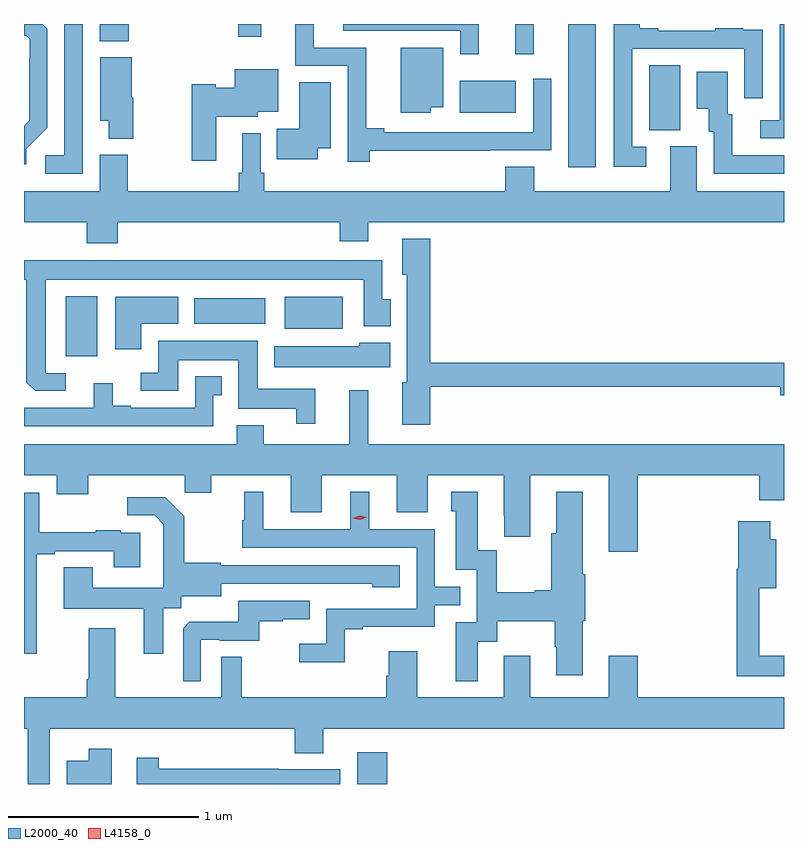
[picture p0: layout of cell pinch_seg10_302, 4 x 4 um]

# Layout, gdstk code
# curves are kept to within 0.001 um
import gdstk
lib = gdstk.Library(unit=1e-6, precision=1e-09)
def R(c, l, rs):  # rectangles x0, y0, x1, y1
    for r in rs: c.add(gdstk.rectangle(r[:2], r[2:], *l))
def P(c, l, *ps):  # polygons
    for p in ps: c.add(gdstk.Polygon(p, *l))
L2000_40 = (2000, 40)
L4158_0 = (4158, 0)

pinch_seg10_302 = lib.new_cell('pinch_seg10_302')
R(pinch_seg10_302, L2000_40, [(397.106,1293.364,397.265,1293.532), (395.573,1295.616,395.737,1295.932), (396.725,1295.759,397.03,1295.929), (396.248,1295.786,396.622,1295.92), (398.216,1296.609,398.362,1297.364), (398.642,1296.805,398.806,1297.148), (397.646,1296.896,397.939,1297.066), (397.937,1297.206,398.036,1297.364), (395.75,1297.274,395.903,1297.364), (396.48,1297.296,396.601,1297.364)])
P(pinch_seg10_302, L2000_40, [(399.352,1297.364),(399.33,1297.364),(399.33,1296.858),(399.228,1296.858),(399.228,1296.762),(399.352,1296.762)],
  [(397.745,1297.364),(397.031,1297.364),(397.031,1297.329),(397.647,1297.329),(397.647,1297.206),(397.745,1297.206)],
  [(395.661,1297.364),(395.565,1297.364),(395.565,1296.672),(395.463,1296.672),(395.463,1296.576),(395.661,1296.576)],
  [(395.365,1296.708),(395.475,1296.818),(395.475,1297.34),(395.451,1297.364),(395.352,1297.364),(395.352,1297.302),(395.364,1297.302),(395.382,1297.284),(395.382,1297.184),(395.379,1297.184),(395.379,1296.855),(395.352,1296.828),(395.352,1296.626),(395.365,1296.626)],
  [(398.626,1296.717),(398.553,1296.717),(398.553,1297.233),(399.144,1297.233),(399.144,1296.972),(399.24,1296.972),(399.24,1297.226),(399.239,1297.226),(399.239,1297.335),(399.137,1297.335),(399.137,1297.342),(398.989,1297.342),(398.989,1297.329),(398.689,1297.329),(398.689,1297.342),(398.593,1297.342),(398.593,1297.364),(398.457,1297.364),(398.457,1296.612),(398.626,1296.612)],
  [(397.172,1296.698),(397.802,1296.698),(397.802,1296.699),(398.127,1296.699),(398.127,1297.075),(398.031,1297.075),(398.031,1296.795),(397.249,1296.795),(397.249,1296.815),(397.154,1296.815),(397.154,1297.239),(396.877,1297.239),(396.877,1297.363),(396.779,1297.363),(396.779,1297.143),(397.056,1297.143),(397.056,1296.639),(397.172,1296.639)],
  [(397.492,1296.926),(397.558,1296.926),(397.558,1297.24),(397.334,1297.24),(397.334,1296.896),(397.492,1296.896)],
  [(395.928,1296.975),(395.92,1296.975),(395.92,1297.189),(395.753,1297.189),(395.753,1296.854),(395.798,1296.854),(395.798,1296.761),(395.928,1296.761)],
  [(396.364,1296.875),(396.582,1296.875),(396.582,1296.902),(396.691,1296.902),(396.691,1297.126),(396.461,1297.126),(396.461,1297.028),(396.36,1297.028),(396.36,1297.046),(396.235,1297.046),(396.235,1296.645),(396.364,1296.645)],
  [(399.352,1296.672),(399.079,1296.672),(399.079,1296.888),(399.055,1296.888),(399.055,1297.114),(398.894,1297.114),(398.894,1296.917),(398.957,1296.917),(398.957,1296.798),(398.982,1296.798),(398.982,1296.576),(399.352,1296.576)],
  [(396.898,1296.71),(396.967,1296.71),(396.967,1297.058),(396.8,1297.058),(396.8,1296.814),(396.682,1296.814),(396.682,1296.653),(396.898,1296.653)],
  [(395.846,1296.32),(397.013,1296.32),(397.013,1296.221),(397.165,1296.221),(397.165,1296.32),(399.352,1296.32),(399.352,1296.484),(398.893,1296.484),(398.893,1296.72),(398.753,1296.72),(398.753,1296.484),(398.038,1296.484),(398.038,1296.614),(397.886,1296.614),(397.886,1296.484),(396.617,1296.484),(396.617,1296.58),(396.597,1296.58),(396.597,1296.79),(396.5,1296.79),(396.5,1296.58),(396.481,1296.58),(396.481,1296.484),(395.898,1296.484),(395.898,1296.676),(395.75,1296.676),(395.75,1296.484),(395.352,1296.484),(395.352,1296.32),(395.681,1296.32),(395.681,1296.209),(395.846,1296.209)],
  [(397.49,1295.454),(399.332,1295.454),(399.332,1295.411),(399.352,1295.411),(399.352,1295.582),(397.49,1295.582),(397.49,1296.235),(397.343,1296.235),(397.343,1296.045),(397.367,1296.045),(397.367,1295.478),(397.343,1295.478),(397.343,1295.256),(397.49,1295.256)],
  [(395.572,1295.526),(395.467,1295.526),(395.467,1296.017),(397.14,1296.017),(397.14,1295.772),(397.282,1295.772),(397.282,1295.916),(397.237,1295.916),(397.237,1296.121),(395.352,1296.121),(395.352,1296.017),(395.363,1296.017),(395.364,1295.479),(395.41,1295.433),(395.572,1295.433)],
  [(395.968,1295.786),(396.163,1295.786),(396.163,1295.929),(395.831,1295.929),(395.831,1295.652),(395.968,1295.652)],
  [(396.884,1295.443),(396.583,1295.443),(396.583,1295.698),(396.059,1295.698),(396.059,1295.529),(395.967,1295.529),(395.967,1295.433),(396.163,1295.433),(396.163,1295.594),(396.479,1295.594),(396.479,1295.339),(396.785,1295.339),(396.785,1295.259),(396.884,1295.259)],
  [(397.279,1295.686),(397.116,1295.686),(397.116,1295.668),(396.668,1295.668),(396.668,1295.558),(397.279,1295.558)],
  [(396.348,1295.409),(396.394,1295.409),(396.394,1295.509),(396.252,1295.509),(396.252,1295.343),(395.914,1295.343),(395.914,1295.356),(395.818,1295.356),(395.818,1295.473),(395.72,1295.473),(395.72,1295.343),(395.352,1295.343),(395.352,1295.247),(396.348,1295.247)],
  [(398.582,1294.988),(399.221,1294.988),(399.221,1294.857),(399.352,1294.857),(399.352,1295.152),(397.163,1295.152),(397.163,1295.437),(397.064,1295.437),(397.064,1295.152),(396.613,1295.152),(396.613,1295.251),(396.473,1295.251),(396.473,1295.152),(395.352,1295.152),(395.352,1294.988),(395.525,1294.988),(395.525,1294.889),(395.689,1294.889),(395.689,1294.988),(396.199,1294.988),(396.199,1294.898),(396.337,1294.898),(396.337,1294.988),(396.755,1294.988),(396.755,1294.794),(396.919,1294.794),(396.919,1294.988),(397.313,1294.988),(397.313,1294.794),(397.477,1294.794),(397.477,1294.988),(397.877,1294.988),(397.877,1294.777),(397.88,1294.777),(397.88,1294.665),(398.017,1294.665),(398.017,1294.988),(398.429,1294.988),(398.429,1294.587),(398.582,1294.587)],
  [(397.741,1294.114),(397.843,1294.114),(397.843,1294.22),(398.146,1294.22),(398.146,1294.086),(398.153,1294.086),(398.153,1293.936),(398.293,1293.936),(398.293,1294.224),(398.306,1294.224),(398.306,1294.468),(398.293,1294.468),(398.293,1294.903),(398.153,1294.903),(398.153,1294.683),(398.128,1294.683),(398.128,1294.385),(398.039,1294.385),(398.039,1294.372),(397.839,1294.372),(397.839,1294.595),(397.741,1294.595),(397.741,1294.903),(397.601,1294.903),(397.601,1294.8),(397.625,1294.8),(397.625,1294.491),(397.734,1294.491),(397.734,1294.215),(397.625,1294.215),(397.625,1293.906),(397.741,1293.906)],
  [(397.041,1294.179),(397.135,1294.179),(397.135,1294.191),(397.515,1294.191),(397.515,1294.305),(397.649,1294.305),(397.649,1294.401),(397.515,1294.401),(397.515,1294.704),(397.168,1294.704),(397.168,1294.903),(397.07,1294.903),(397.07,1294.704),(396.61,1294.704),(396.61,1294.903),(396.512,1294.903),(396.512,1294.752),(396.501,1294.752),(396.501,1294.608),(397.419,1294.608),(397.419,1294.287),(396.942,1294.287),(396.942,1294.102),(396.801,1294.102),(396.801,1294.004),(397.041,1294.004)],
  [(395.419,1294.572),(395.515,1294.572),(395.515,1294.59),(395.825,1294.59),(395.825,1294.506),(395.965,1294.506),(395.965,1294.686),(395.861,1294.686),(395.861,1294.699),(395.729,1294.699),(395.729,1294.688),(395.431,1294.688),(395.431,1294.896),(395.352,1294.896),(395.352,1294.05),(395.419,1294.05)],
  [(396.085,1294.288),(396.18,1294.288),(396.18,1294.352),(396.391,1294.352),(396.391,1294.419),(397.185,1294.418),(397.185,1294.4),(397.33,1294.4),(397.33,1294.515),(396.387,1294.515),(396.387,1294.528),(396.195,1294.528),(396.195,1294.773),(396.095,1294.873),(395.895,1294.873),(395.895,1294.779),(396.039,1294.779),(396.086,1294.732),(396.086,1294.637),(396.084,1294.637),(396.084,1294.396),(395.713,1294.396),(395.713,1294.505),(395.561,1294.505),(395.561,1294.286),(395.981,1294.286),(395.981,1294.05),(396.085,1294.05)],
  [(399.352,1294.039),(399.221,1294.039),(399.221,1294.394),(399.31,1294.394),(399.31,1294.651),(399.28,1294.651),(399.28,1294.747),(399.11,1294.747),(399.11,1294.498),(399.103,1294.498),(399.103,1293.93),(399.352,1293.93)],
  [(396.282,1294.122),(396.382,1294.122),(396.382,1294.119),(396.59,1294.119),(396.59,1294.221),(396.713,1294.221),(396.713,1294.232),(396.857,1294.232),(396.857,1294.329),(396.48,1294.329),(396.48,1294.217),(396.221,1294.217),(396.189,1294.185),(396.189,1293.905),(396.282,1293.905)],
  [(395.487,1293.656),(396.776,1293.656),(396.776,1293.526),(396.928,1293.526),(396.928,1293.656),(399.352,1293.656),(399.352,1293.82),(398.582,1293.82),(398.582,1294.039),(398.429,1294.039),(398.429,1293.82),(398.017,1293.82),(398.017,1294.039),(397.877,1294.039),(397.877,1293.82),(397.423,1293.82),(397.423,1294.063),(397.271,1294.063),(397.271,1293.933),(397.259,1293.933),(397.259,1293.82),(396.499,1293.82),(396.499,1294.034),(396.39,1294.034),(396.39,1293.82),(395.833,1293.82),(395.833,1294.183),(395.693,1294.183),(395.693,1293.916),(395.681,1293.916),(395.681,1293.82),(395.352,1293.82),(395.352,1293.656),(395.371,1293.656),(395.371,1293.364),(395.487,1293.364)],
  [(395.815,1293.55),(395.693,1293.55),(395.693,1293.487),(395.576,1293.487),(395.576,1293.364),(395.815,1293.364)],
  [(397.017,1293.441),(396.692,1293.441),(396.692,1293.443),(396.062,1293.443),(396.062,1293.502),(395.946,1293.502),(395.946,1293.364),(397.017,1293.364)])
P(pinch_seg10_302, L4158_0, [(397.119,1294.755),(397.083,1294.764),(397.083,1294.764),(397.083,1294.764),(397.119,1294.775),(397.155,1294.767),(397.155,1294.767),(397.155,1294.767)])

lib.write_gds('pinch_seg10_302.gds')
